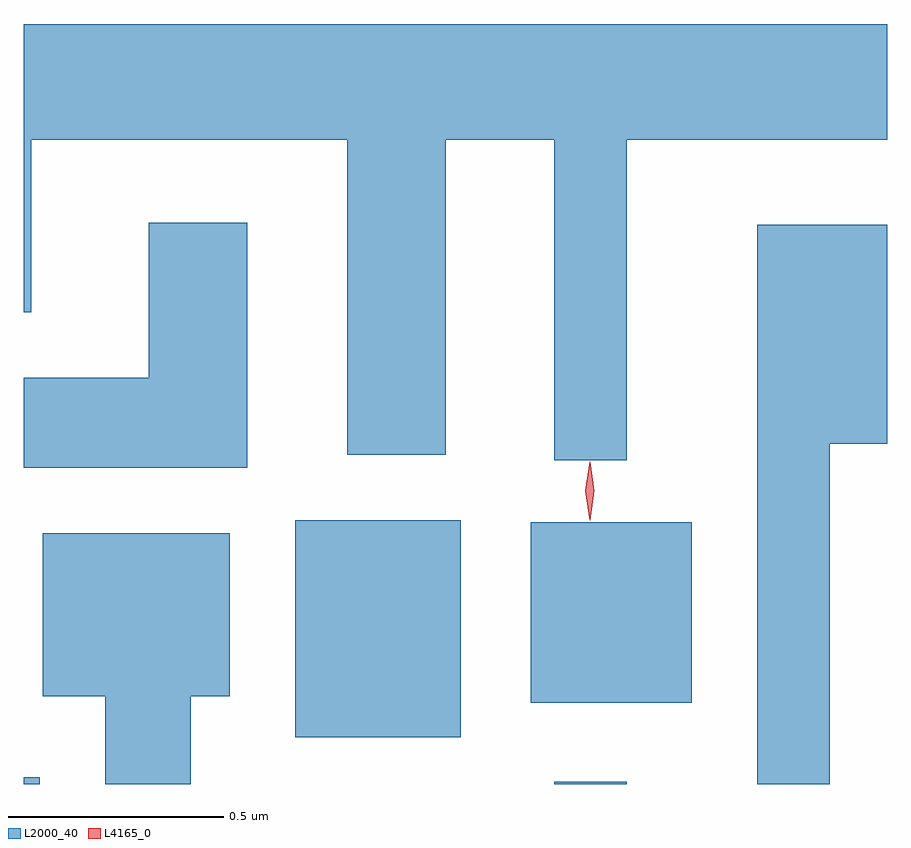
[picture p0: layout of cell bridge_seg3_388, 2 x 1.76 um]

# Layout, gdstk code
import gdstk
lib = gdstk.Library(unit=1e-6, precision=1e-09)
def R(c, l, rs):  # rectangles x0, y0, x1, y1
    for r in rs: c.add(gdstk.rectangle(r[:2], r[2:], *l))
def P(c, l, *ps):  # polygons
    for p in ps: c.add(gdstk.Polygon(p, *l))
L2000_40 = (2000, 40)
L4165_0 = (4165, 0)

bridge_seg3_388 = lib.new_cell('bridge_seg3_388')
R(bridge_seg3_388, L2000_40, [(581.532,1202.223,581.569,1202.239), (582.761,1202.223,582.929,1202.228), (582.161,1202.331,582.544,1202.834), (582.706,1202.411,583.079,1202.829)])
P(bridge_seg3_388, L2000_40, [(582.929,1203.716),(583.532,1203.716),(583.532,1203.984),(581.532,1203.984),(581.532,1203.316),(581.549,1203.316),(581.549,1203.716),(582.281,1203.716),(582.281,1202.986),(582.509,1202.986),(582.509,1203.716),(582.761,1203.716),(582.761,1202.973),(582.929,1202.973)],
  [(582.049,1203.524),(581.821,1203.524),(581.821,1203.164),(581.532,1203.164),(581.532,1202.956),(582.049,1202.956)],
  [(583.399,1203.011),(583.532,1203.011),(583.532,1203.519),(583.231,1203.519),(583.231,1202.223),(583.399,1202.223)],
  [(581.919,1202.426),(582.009,1202.426),(582.009,1202.804),(581.576,1202.804),(581.576,1202.426),(581.721,1202.426),(581.721,1202.223),(581.919,1202.223)])
P(bridge_seg3_388, L4165_0, [(582.843,1202.838),(582.833,1202.902),(582.843,1202.966),(582.844,1202.967),(582.844,1202.966),(582.854,1202.902),(582.844,1202.838),(582.844,1202.838)],
  [(582.843,1202.834),(582.843,1202.834),(582.833,1202.902),(582.843,1202.97),(582.843,1202.97),(582.844,1202.97),(582.853,1202.902),(582.844,1202.834)])

lib.write_gds('bridge_seg3_388.gds')
